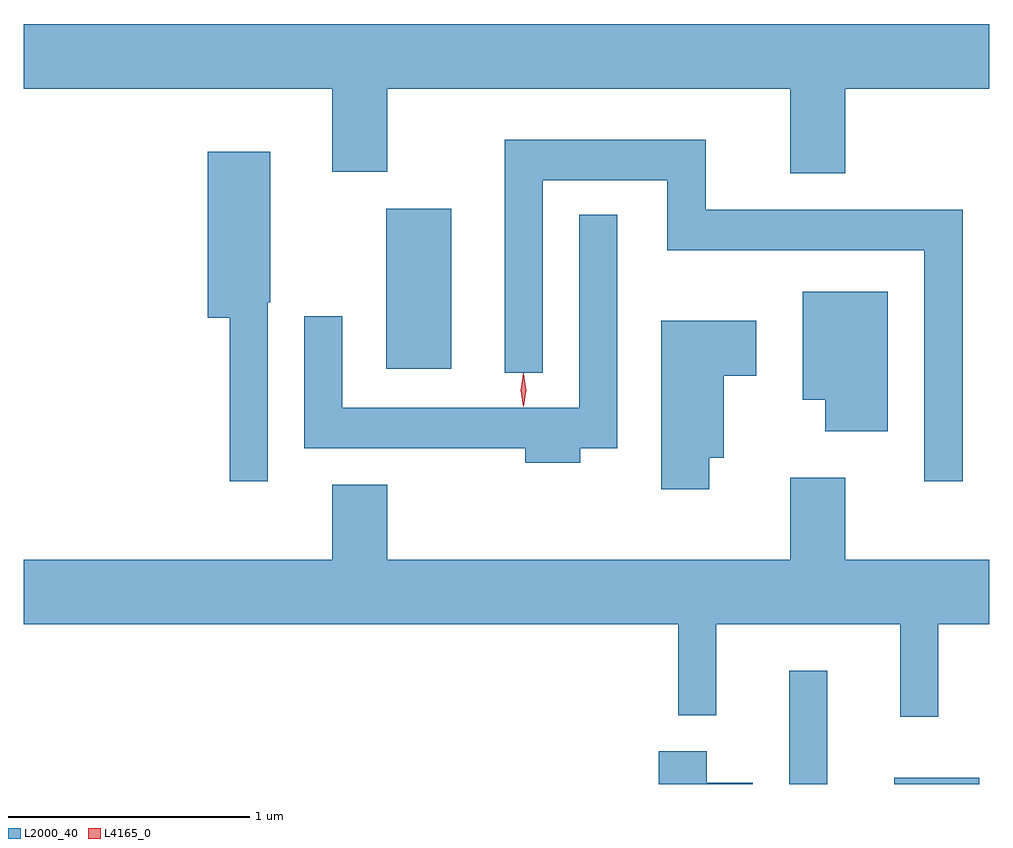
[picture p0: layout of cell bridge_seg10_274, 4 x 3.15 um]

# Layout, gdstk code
import gdstk
lib = gdstk.Library(unit=1e-6, precision=1e-09)
def R(c, l, rs):  # rectangles x0, y0, x1, y1
    for r in rs: c.add(gdstk.rectangle(r[:2], r[2:], *l))
def P(c, l, *ps):  # polygons
    for p in ps: c.add(gdstk.Polygon(p, *l))
L2000_40 = (2000, 40)
L4165_0 = (4165, 0)

bridge_seg10_274 = lib.new_cell('bridge_seg10_274')
R(bridge_seg10_274, L2000_40, [(1452.366,2182.074,1452.524,2182.543), (1452.801,2182.074,1453.154,2182.099), (1450.696,2183.796,1450.964,2184.459)])
P(bridge_seg10_274, L2000_40, [(1449.194,2184.956),(1450.471,2184.956),(1450.471,2184.611),(1450.699,2184.611),(1450.699,2184.956),(1452.371,2184.956),(1452.371,2184.606),(1452.599,2184.606),(1452.599,2184.956),(1453.194,2184.956),(1453.194,2185.224),(1449.194,2185.224)],
  [(1453.084,2184.454),(1452.019,2184.454),(1452.019,2184.744),(1451.186,2184.744),(1451.186,2183.778),(1451.344,2183.778),(1451.344,2184.576),(1451.861,2184.576),(1451.861,2184.286),(1452.926,2184.286),(1452.926,2183.328),(1453.084,2183.328)],
  [(1450.204,2184.07),(1450.214,2184.07),(1450.214,2184.694),(1449.956,2184.694),(1449.956,2184.006),(1450.046,2184.006),(1450.046,2183.328),(1450.204,2183.328)],
  [(1451.499,2183.466),(1451.654,2183.466),(1451.654,2184.433),(1451.496,2184.433),(1451.496,2183.634),(1450.514,2183.634),(1450.514,2184.013),(1450.356,2184.013),(1450.356,2183.466),(1451.271,2183.466),(1451.271,2183.406),(1451.499,2183.406)],
  [(1452.774,2184.114),(1452.421,2184.114),(1452.421,2183.666),(1452.516,2183.666),(1452.516,2183.536),(1452.774,2183.536)],
  [(1452.034,2183.426),(1452.094,2183.426),(1452.094,2183.766),(1452.229,2183.766),(1452.229,2183.994),(1451.836,2183.994),(1451.836,2183.296),(1452.034,2183.296)],
  [(1452.984,2182.736),(1453.194,2182.736),(1453.194,2183.004),(1452.599,2183.004),(1452.599,2183.344),(1452.371,2183.344),(1452.371,2183.004),(1450.699,2183.004),(1450.699,2183.314),(1450.471,2183.314),(1450.471,2183.004),(1449.194,2183.004),(1449.194,2182.736),(1451.906,2182.736),(1451.906,2182.358),(1452.064,2182.358),(1452.064,2182.736),(1452.826,2182.736),(1452.826,2182.353),(1452.984,2182.353)],
  [(1452.214,2182.079),(1452.024,2182.079),(1452.024,2182.209),(1451.826,2182.209),(1451.826,2182.074),(1452.214,2182.074)])
P(bridge_seg10_274, L4165_0, [(1451.263,2183.637),(1451.263,2183.638),(1451.254,2183.707),(1451.264,2183.776),(1451.264,2183.776),(1451.265,2183.776),(1451.274,2183.707),(1451.264,2183.638)],
  [(1451.265,2183.639),(1451.264,2183.64),(1451.255,2183.706),(1451.264,2183.772),(1451.265,2183.773),(1451.265,2183.772),(1451.275,2183.706),(1451.265,2183.64)])

lib.write_gds('bridge_seg10_274.gds')
